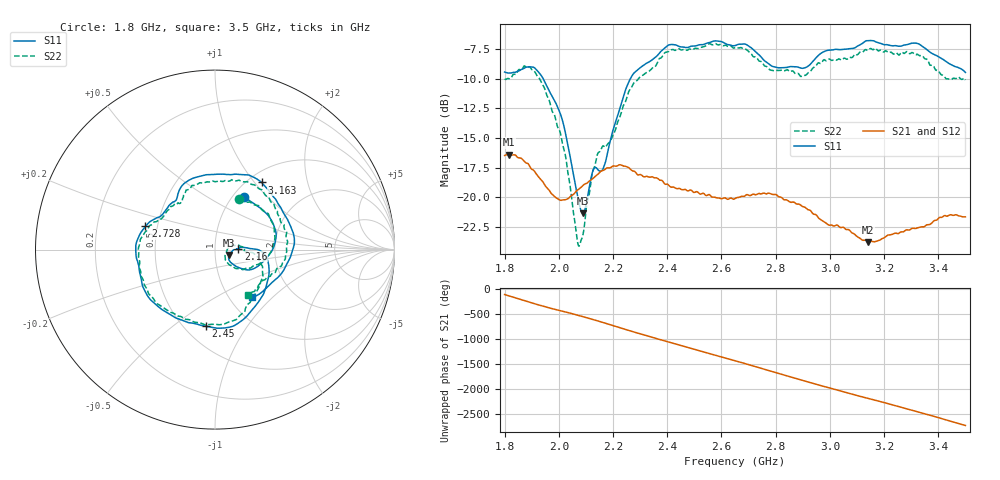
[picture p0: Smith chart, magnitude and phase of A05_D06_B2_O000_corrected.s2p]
! Created with skrf 1.9.0 (http://scikit-rf.org).
# Hz S RI R 50.0
!freq ReS11 ImS11 ReS21 ImS21 ReS12 ImS12 ReS22 ImS22
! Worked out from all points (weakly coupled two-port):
!   1601 points, 1.8 GHz to 3.5 GHz, reference 50 ohm
!   highest |S21| = -16.40 dB at 1.815 GHz (marker M1); lowest = -23.8 dB at 3.142 GHz (marker M2)
!   lowest |S11| = -21.4 dB at 2.09 GHz (marker M3), VSWR 1.19, Z = 58.6 - j3.58 ohm
!   |S11| at or under -10 dB: 1.942 GHz to 2.264 GHz (322.1 MHz wide, 15.3 % of centre)
!   |S22| runs from -24.1 to -7.1 dB; largest |S21 - S12| = 0.0026
!   S11 on the Smith chart (normalised r, x): 1.8 GHz: 1.12, +0.75; 2.16 GHz: 1.30, +0.01; 2.45 GHz: 0.63, -0.66; 2.728 GHz: 0.43, +0.13; 3.163 GHz: 1.15, +1.09; 3.5 GHz: 1.28, -0.76
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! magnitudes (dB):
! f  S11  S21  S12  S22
! 1.8 GHz  -9.4  -16.5  -16.5  -10.0
! 1.815 GHz  -9.5  -16.4  -16.4  -10.0
! 1.888 GHz  -9.0  -17.2  -17.3  -9.0
! 1.942 GHz  -10.0  -18.7  -18.7  -10.6
! 2.013 GHz  -13.4  -20.2  -20.2  -15.4
! 2.068 GHz  -19.7  -19.4  -19.4  -23.6
! 2.084 GHz  -21.2  -19.1  -19.1  -23.5
! 2.09 GHz  -21.4  -19.0  -19.0  -23.0
! 2.127 GHz  -17.7  -18.4  -18.4  -17.7
! 2.16 GHz  -17.7  -17.7  -17.7  -15.7
! 2.261 GHz  -10.1  -17.6  -17.6  -11.0
! 2.367 GHz  -8.0  -18.5  -18.4  -8.5
! 2.45 GHz  -7.3  -19.3  -19.3  -7.6
! 2.65 GHz  -7.2  -20.1  -20.1  -7.4
! 2.728 GHz  -7.8  -19.8  -19.8  -8.2
! 2.806 GHz  -9.1  -19.8  -19.8  -9.3
! 2.934 GHz  -8.6  -21.3  -21.2  -9.2
! 3.142 GHz  -6.8  -23.8  -23.7  -7.6
! 3.163 GHz  -6.8  -23.8  -23.7  -7.5
! 3.217 GHz  -7.2  -23.2  -23.1  -7.8
! 3.324 GHz  -7.0  -22.6  -22.5  -8.0
! 3.5 GHz  -9.5  -21.6  -21.6  -10.1
